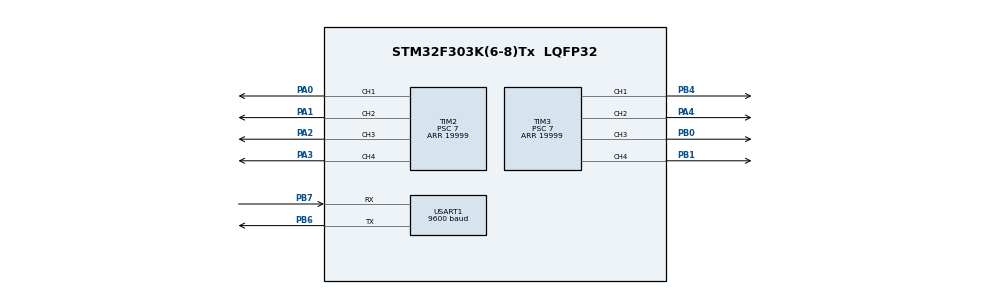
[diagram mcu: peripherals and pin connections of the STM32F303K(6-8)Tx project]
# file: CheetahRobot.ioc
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Mcu.Family=STM32F3
Mcu.Name=STM32F303K(6-8)Tx
Mcu.Package=LQFP32
NVIC.PriorityGroup=NVIC_PRIORITYGROUP_4
NVIC.TIM2_IRQn=true\:0\:0\:false\:false\:true\:true\:true
NVIC.TIM3_IRQn=true\:0\:0\:false\:false\:true\:true\:true
NVIC.USART1_IRQn=true\:0\:0\:false\:false\:true\:true\:true
PA0.Signal=S_TIM2_CH1_ETR
PA1.Signal=S_TIM2_CH2
PA2.Signal=S_TIM2_CH3
PA3.Signal=S_TIM2_CH4
PA4.Signal=S_TIM3_CH2
PB0.Signal=S_TIM3_CH3
PB1.Signal=S_TIM3_CH4
PB4.Signal=S_TIM3_CH1
PB6.Mode=Asynchronous
PB6.Signal=USART1_TX
PB7.Mode=Asynchronous
PB7.Signal=USART1_RX
ProjectManager.HeapSize=0x200
ProjectManager.StackSize=0x400
ProjectManager.TargetToolchain=STM32CubeIDE
RCC.AHBFreq_Value=8000000
RCC.APB1Freq_Value=8000000
RCC.APB2Freq_Value=8000000
RCC.CortexFreq_Value=8000000
RCC.HSE_VALUE=8000000
RCC.HSI_VALUE=8000000
RCC.SYSCLKFreq_VALUE=8000000
SH.S_TIM2_CH1_ETR.0=TIM2_CH1,PWM Generation1 CH1
SH.S_TIM2_CH2.0=TIM2_CH2,PWM Generation2 CH2
SH.S_TIM2_CH3.0=TIM2_CH3,PWM Generation3 CH3
SH.S_TIM2_CH4.0=TIM2_CH4,PWM Generation4 CH4
SH.S_TIM3_CH1.0=TIM3_CH1,PWM Generation1 CH1
SH.S_TIM3_CH2.0=TIM3_CH2,PWM Generation2 CH2
SH.S_TIM3_CH3.0=TIM3_CH3,PWM Generation3 CH3
SH.S_TIM3_CH4.0=TIM3_CH4,PWM Generation4 CH4
TIM2.Channel-PWM\ Generation1\ CH1=TIM_CHANNEL_1
TIM2.Channel-PWM\ Generation2\ CH2=TIM_CHANNEL_2
TIM2.Channel-PWM\ Generation3\ CH3=TIM_CHANNEL_3
TIM2.Channel-PWM\ Generation4\ CH4=TIM_CHANNEL_4
TIM2.Period=19999
TIM2.Prescaler=7
TIM2.Pulse-PWM\ Generation1\ CH1=1400
TIM2.Pulse-PWM\ Generation2\ CH2=1400
TIM2.Pulse-PWM\ Generation3\ CH3=1400
TIM2.Pulse-PWM\ Generation4\ CH4=1200
TIM3.Channel-PWM\ Generation1\ CH1=TIM_CHANNEL_1
TIM3.Channel-PWM\ Generation2\ CH2=TIM_CHANNEL_2
TIM3.Channel-PWM\ Generation3\ CH3=TIM_CHANNEL_3
TIM3.Channel-PWM\ Generation4\ CH4=TIM_CHANNEL_4
TIM3.Period=19999
TIM3.Prescaler=7
TIM3.Pulse-PWM\ Generation1\ CH1=1400
TIM3.Pulse-PWM\ Generation2\ CH2=1400
TIM3.Pulse-PWM\ Generation3\ CH3=1400
TIM3.Pulse-PWM\ Generation4\ CH4=1400
USART1.BaudRate=9600
USART1.VirtualMode-Asynchronous=VM_ASYNC
VP_TIM2_VS_ClockSourceINT.Mode=Internal
VP_TIM3_VS_ClockSourceINT.Mode=Internal
board=custom

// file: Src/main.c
/* USER CODE BEGIN Header */
/**
 ******************************************************************************
 * @file           : main.c
 * @brief          : Main program body
 ******************************************************************************
 * @attention
 *
 * <h2><center>&copy; Copyright (c) 2019 STMicroelectronics.
 * All rights reserved.</center></h2>
 *
 * This software component is licensed by ST under BSD 3-Clause license,
 * the "License"; You may not use this file except in compliance with the
 * License. You may obtain a copy of the License at:
 *                        opensource.org/licenses/BSD-3-Clause
 *
 ******************************************************************************
 */
/* USER CODE END Header */

#include "main.h"
#include "tim.h"
#include "usart.h"
#include "gpio.h"
#include "moves.h"

void SystemClock_Config(void);
void state(uint8_t);
/* USER CODE BEGIN PFP */

uint8_t recived = 'x';
uint8_t prev_recived='x';
void process_serial_data(uint8_t ch);

/* USER CODE END PFP */

int main(void)
{

	/* MCU Configuration--------------------------------------------------------*/

	/* Reset of all peripherals, Initializes the Flash interface and the Systick. */

	LL_APB2_GRP1_EnableClock(LL_APB2_GRP1_PERIPH_SYSCFG);
	LL_APB1_GRP1_EnableClock(LL_APB1_GRP1_PERIPH_PWR);

	NVIC_SetPriorityGrouping(NVIC_PRIORITYGROUP_4);

	/* System interrupt init*/

	/* Configure the system clock */
	SystemClock_Config();

	/* Initialize all configured peripherals */
	MX_GPIO_Init();
	MX_TIM2_Init();
	MX_TIM3_Init();
	MX_USART1_UART_Init();
	USART1_RegisterCallback(process_serial_data);
	/* USER CODE BEGIN 2 */
	LL_TIM_CC_EnableChannel(TIM2, LL_TIM_CHANNEL_CH1);
	LL_TIM_CC_EnableChannel(TIM2, LL_TIM_CHANNEL_CH2);
	LL_TIM_CC_EnableChannel(TIM2, LL_TIM_CHANNEL_CH3);
	LL_TIM_CC_EnableChannel(TIM2, LL_TIM_CHANNEL_CH4);
	LL_TIM_EnableCounter(TIM2);

	LL_TIM_CC_EnableChannel(TIM3, LL_TIM_CHANNEL_CH1);
	LL_TIM_CC_EnableChannel(TIM3, LL_TIM_CHANNEL_CH2);
	LL_TIM_CC_EnableChannel(TIM3, LL_TIM_CHANNEL_CH3);
	LL_TIM_CC_EnableChannel(TIM3, LL_TIM_CHANNEL_CH4);
	LL_TIM_EnableCounter(TIM3);

	/* USER CODE END 2 */

	/* Infinite loop */
	/* USER CODE BEGIN WHILE */

	stand_up();

	while (1)
	{

		/* USER CODE END WHILE */

		if (recived=='m'){
			push_ups();
			state('m');

		}
		else if (recived=='b') {
			stand_up();
			state('b');

		}
		else if (recived=='h') {
			check();
			state('h');

		}
		else if (recived=='i') {
			sit();
			state('i');

		}
		else if (recived=='k') {
			lay();
			state('k');

		}
		else if (recived=='g') {
			if(prev_recived != recived){
				sit();
			}

			hello();
			state('g');

		}
		else if (recived=='j') {
			if(prev_recived != recived){
				stand_up();
			}
			sit_inv();
			state('j');

		}
		else if (recived=='e') {
			if(prev_recived != recived){
				stand_up();
			}
			walk();
			state('e');

		}
		else if (recived=='l') {
			if(prev_recived != recived){
				lay();
			}
			sleep();
			state('l');

		}
		else if (recived=='f') {
			if(prev_recived != recived){
				stand_up();
			}
			back_walk();
			state('f');

		}
		else if (recived=='d') {
			if(prev_recived != recived){
				stand_up();
			}
			right_walk();
			state('d');

		}
		else if (recived=='c') {
			if(prev_recived != recived){
				stand_up();
			}
			left_walk();
			state('c');

		}

		else if (recived=='a') {
			if(prev_recived != recived){
				stand_up();
			}
			dance();
			state('a');

		}

	}
}

void SystemClock_Config(void)
{
	LL_FLASH_SetLatency(LL_FLASH_LATENCY_0);

	if(LL_FLASH_GetLatency() != LL_FLASH_LATENCY_0)
	{
		Error_Handler();
	}
	LL_RCC_HSI_Enable();

	/* Wait till HSI is ready */
	while(LL_RCC_HSI_IsReady() != 1)
	{

	}
	LL_RCC_HSI_SetCalibTrimming(16);
	LL_RCC_SetAHBPrescaler(LL_RCC_SYSCLK_DIV_1);
	LL_RCC_SetAPB1Prescaler(LL_RCC_APB1_DIV_1);
	LL_RCC_SetAPB2Prescaler(LL_RCC_APB1_DIV_1);
	LL_RCC_SetSysClkSource(LL_RCC_SYS_CLKSOURCE_HSI);

	/* Wait till System clock is ready */
	while(LL_RCC_GetSysClkSource() != LL_RCC_SYS_CLKSOURCE_STATUS_HSI)
	{

	}
	LL_Init1msTick(8000000);
	LL_SYSTICK_SetClkSource(LL_SYSTICK_CLKSOURCE_HCLK);
	LL_SetSystemCoreClock(8000000);
	LL_RCC_SetUSARTClockSource(LL_RCC_USART1_CLKSOURCE_PCLK1);
}

/* USER CODE BEGIN 4 */
void process_serial_data(uint8_t ch)
{

	if(ch>=97 && ch<=122){
		recived = ch;
	}

}

void state(uint8_t s){
	if(recived==s){
		prev_recived=s;
	}
}

/* USER CODE END 4 */

void Error_Handler(void)
{
}

/************************ (C) COPYRIGHT STMicroelectronics *****END OF FILE****/
